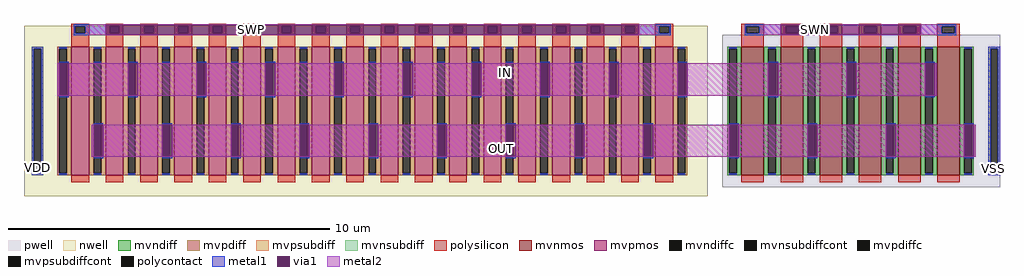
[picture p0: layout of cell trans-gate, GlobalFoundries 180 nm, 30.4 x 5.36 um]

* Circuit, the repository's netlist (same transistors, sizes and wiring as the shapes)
* NGSPICE file created from trans-gate.ext - technology: gf180mcuD

.subckt nfet_06v0_QZENGQ a_174_n844# a_314_n800# a_70_n800# a_n314_n844# a_n402_n800#
+ a_n70_n844# a_n174_n800# VSUBS
X0 a_70_n800# a_n70_n844# a_n174_n800# VSUBS nfet_05v0 ad=2.08p pd=8.52u as=2.08p ps=8.52u w=8u l=0.7u
X1 a_314_n800# a_174_n844# a_70_n800# VSUBS nfet_05v0 ad=3.52p pd=16.88u as=2.08p ps=8.52u w=8u l=0.7u
X2 a_n174_n800# a_n314_n844# a_n402_n800# VSUBS nfet_05v0 ad=2.08p pd=8.52u as=3.52p ps=16.88u w=8u l=0.7u
.ends

.subckt pfet_06v0_65Z2WK a_911_n800# a_697_n800# a_n697_n844# a_n911_n844# a_55_n800#
+ a_801_n844# a_587_n844# a_n373_n800# a_n55_n844# a_n159_n800# a_483_n800# a_269_n800#
+ w_n1085_n930# a_n483_n844# a_n999_n800# a_n269_n844# a_n801_n800# a_373_n844# a_n587_n800#
+ a_159_n844#
X0 a_n801_n800# a_n911_n844# a_n999_n800# w_n1085_n930# pfet_05v0 ad=2.08p pd=8.52u as=3.52p ps=16.88u w=8u l=0.55u
X1 a_483_n800# a_373_n844# a_269_n800# w_n1085_n930# pfet_05v0 ad=2.08p pd=8.52u as=2.08p ps=8.52u w=8u l=0.55u
X2 a_n159_n800# a_n269_n844# a_n373_n800# w_n1085_n930# pfet_05v0 ad=2.08p pd=8.52u as=2.08p ps=8.52u w=8u l=0.55u
X3 a_697_n800# a_587_n844# a_483_n800# w_n1085_n930# pfet_05v0 ad=2.08p pd=8.52u as=2.08p ps=8.52u w=8u l=0.55u
X4 a_911_n800# a_801_n844# a_697_n800# w_n1085_n930# pfet_05v0 ad=3.52p pd=16.88u as=2.08p ps=8.52u w=8u l=0.55u
X5 a_269_n800# a_159_n844# a_55_n800# w_n1085_n930# pfet_05v0 ad=2.08p pd=8.52u as=2.08p ps=8.52u w=8u l=0.55u
X6 a_n373_n800# a_n483_n844# a_n587_n800# w_n1085_n930# pfet_05v0 ad=2.08p pd=8.52u as=2.08p ps=8.52u w=8u l=0.55u
X7 a_n587_n800# a_n697_n844# a_n801_n800# w_n1085_n930# pfet_05v0 ad=2.08p pd=8.52u as=2.08p ps=8.52u w=8u l=0.55u
X8 a_55_n800# a_n55_n844# a_n159_n800# w_n1085_n930# pfet_05v0 ad=2.08p pd=8.52u as=2.08p ps=8.52u w=8u l=0.55u
.ends

.subckt trans-gate VDD VSS SWP SWN IN OUT
Xnfet_06v0_QZENGQ_0 SWN OUT IN SWN IN SWN OUT VSS nfet_06v0_QZENGQ
Xpfet_06v0_65Z2WK_0 OUT IN SWP SWP OUT SWP SWP OUT SWP IN OUT IN VDD SWP IN SWP OUT
+ SWP IN SWP pfet_06v0_65Z2WK
.ends

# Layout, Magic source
magic
tech gf180mcuD
magscale 1 10
<< nwell >>
rect -1440 1940 -1319 3000
rect -931 2942 -821 3000
rect -717 2942 -607 3000
rect -503 2942 -393 3000
rect -289 2942 -179 3000
rect -75 2942 35 3000
rect 139 2942 249 3000
rect 353 2942 463 3000
rect 567 2942 677 3000
rect 781 2942 891 3000
rect 995 2942 1105 3000
rect 1209 2942 1319 3000
rect 1423 2942 1533 3000
rect 1637 2942 1747 3000
rect 1760 1940 2820 3000
<< pwell >>
rect 3272 2942 3412 2946
rect 3516 2942 3656 2946
rect 3760 2942 3900 2946
rect 4004 2942 4144 2946
rect 4248 2942 4388 2946
rect 4508 1994 4639 2946
<< mvpsubdiff >>
rect 4567 2857 4639 2870
rect 4567 2083 4580 2857
rect 4626 2083 4639 2857
rect 4567 2070 4639 2083
<< mvnsubdiff >>
rect -1393 2857 -1321 2870
rect -1393 2083 -1380 2857
rect -1334 2083 -1321 2857
rect -1393 2070 -1321 2083
<< mvpsubdiffcont >>
rect 4580 2083 4626 2857
<< mvnsubdiffcont >>
rect -1380 2083 -1334 2857
<< polysilicon >>
rect -1145 2999 -1035 3012
rect -1145 2953 -1120 2999
rect -1060 2953 -1035 2999
rect -1145 2914 -1035 2953
rect -931 2999 -821 3012
rect -931 2953 -906 2999
rect -846 2953 -821 2999
rect -931 2914 -821 2953
rect -717 2999 -607 3012
rect -717 2953 -692 2999
rect -632 2953 -607 2999
rect -717 2914 -607 2953
rect -503 2999 -393 3012
rect -503 2953 -478 2999
rect -418 2953 -393 2999
rect -503 2914 -393 2953
rect -289 2999 -179 3012
rect -289 2953 -264 2999
rect -204 2953 -179 2999
rect -289 2914 -179 2953
rect -75 2999 35 3012
rect -75 2953 -50 2999
rect 10 2953 35 2999
rect -75 2914 35 2953
rect 139 2999 249 3012
rect 139 2953 164 2999
rect 224 2953 249 2999
rect 139 2914 249 2953
rect 353 2999 463 3012
rect 353 2953 378 2999
rect 438 2953 463 2999
rect 353 2914 463 2953
rect 567 2999 677 3012
rect 567 2953 592 2999
rect 652 2953 677 2999
rect 567 2914 677 2953
rect 781 2999 891 3012
rect 781 2953 806 2999
rect 866 2953 891 2999
rect 781 2914 891 2953
rect 995 2999 1105 3012
rect 995 2953 1020 2999
rect 1080 2953 1105 2999
rect 995 2914 1105 2953
rect 1209 2999 1319 3012
rect 1209 2953 1234 2999
rect 1294 2953 1319 2999
rect 1209 2914 1319 2953
rect 1423 2999 1533 3012
rect 1423 2953 1448 2999
rect 1508 2953 1533 2999
rect 1423 2914 1533 2953
rect 1637 2999 1747 3012
rect 1637 2953 1662 2999
rect 1722 2953 1747 2999
rect 1637 2914 1747 2953
rect 1851 2999 1961 3012
rect 1851 2953 1876 2999
rect 1936 2953 1961 2999
rect 1851 2914 1961 2953
rect 2065 2999 2175 3012
rect 2065 2953 2090 2999
rect 2150 2953 2175 2999
rect 2065 2914 2175 2953
rect 2279 2999 2389 3012
rect 2279 2953 2304 2999
rect 2364 2953 2389 2999
rect 2279 2914 2389 2953
rect 2493 2999 2603 3012
rect 2493 2953 2518 2999
rect 2578 2953 2603 2999
rect 2493 2914 2603 2953
rect 3028 2999 3168 3012
rect 3028 2953 3060 2999
rect 3140 2953 3168 2999
rect 3028 2914 3168 2953
rect 3272 2999 3412 3012
rect 3272 2953 3304 2999
rect 3384 2953 3412 2999
rect 3272 2870 3412 2953
rect 3516 2999 3656 3012
rect 3516 2953 3548 2999
rect 3628 2953 3656 2999
rect 3516 2870 3656 2953
rect 3760 2999 3900 3012
rect 3760 2953 3792 2999
rect 3872 2953 3900 2999
rect 3760 2870 3900 2953
rect 4004 2999 4144 3012
rect 4004 2953 4036 2999
rect 4116 2953 4144 2999
rect 4004 2870 4144 2953
rect 4248 2999 4388 3012
rect 4248 2953 4276 2999
rect 4356 2953 4388 2999
rect 4248 2914 4388 2953
<< polycontact >>
rect -1120 2953 -1060 2999
rect -906 2953 -846 2999
rect -692 2953 -632 2999
rect -478 2953 -418 2999
rect -264 2953 -204 2999
rect -50 2953 10 2999
rect 164 2953 224 2999
rect 378 2953 438 2999
rect 592 2953 652 2999
rect 806 2953 866 2999
rect 1020 2953 1080 2999
rect 1234 2953 1294 2999
rect 1448 2953 1508 2999
rect 1662 2953 1722 2999
rect 1876 2953 1936 2999
rect 2090 2953 2150 2999
rect 2304 2953 2364 2999
rect 2518 2953 2578 2999
rect 3060 2953 3140 2999
rect 3304 2953 3384 2999
rect 3548 2953 3628 2999
rect 3792 2953 3872 2999
rect 4036 2953 4116 2999
rect 4276 2953 4356 2999
<< metal1 >>
rect -1131 3008 2589 3010
rect -1131 2999 -931 3008
rect 2389 2999 2589 3008
rect -1131 2953 -1120 2999
rect -1060 2953 -931 2999
rect 2389 2953 2518 2999
rect 2578 2953 2589 2999
rect -1131 2944 -931 2953
rect 2389 2944 2589 2953
rect -1131 2942 2589 2944
rect 3049 3008 4367 3010
rect 3049 2999 3272 3008
rect 4144 2999 4367 3008
rect 3049 2953 3060 2999
rect 3140 2953 3272 2999
rect 4144 2953 4276 2999
rect 4356 2953 4367 2999
rect 3049 2944 3272 2953
rect 4144 2944 4367 2953
rect 3049 2942 4367 2944
rect -1393 2857 -1321 2870
rect -1393 2083 -1380 2857
rect -1334 2083 -1321 2857
rect 4567 2857 4639 2870
rect -1220 2766 -1160 2778
rect -1006 2766 -960 2778
rect -792 2766 -732 2778
rect -578 2766 -532 2778
rect -364 2766 -304 2778
rect -150 2766 -104 2778
rect 64 2766 124 2778
rect 278 2766 324 2778
rect 492 2766 552 2778
rect 706 2766 752 2778
rect 920 2766 980 2778
rect 1134 2766 1180 2778
rect 1348 2766 1408 2778
rect 1562 2766 1608 2778
rect 1776 2766 1836 2778
rect 1990 2766 2036 2778
rect 2204 2766 2264 2778
rect -1220 2556 -1160 2568
rect -792 2556 -732 2568
rect -364 2556 -304 2568
rect 64 2556 124 2568
rect 492 2556 552 2568
rect 920 2556 980 2568
rect 1348 2556 1408 2568
rect 1776 2554 1836 2568
rect 2204 2556 2264 2568
rect 2632 2766 2692 2778
rect 2632 2556 2692 2568
rect 3197 2766 3257 2778
rect 3197 2556 3257 2568
rect 3685 2766 3745 2778
rect 3685 2556 3745 2568
rect 4173 2766 4233 2778
rect 4173 2556 4233 2568
rect -1006 2383 -946 2395
rect -1006 2175 -946 2187
rect -578 2383 -518 2395
rect -578 2175 -518 2187
rect -150 2383 -90 2395
rect -150 2175 -90 2187
rect 278 2383 338 2395
rect 278 2175 338 2187
rect 706 2383 766 2395
rect 706 2175 766 2187
rect 1134 2383 1194 2395
rect 1134 2175 1194 2187
rect 1562 2383 1622 2395
rect 1562 2175 1622 2187
rect 1990 2383 2050 2395
rect 1990 2175 2050 2187
rect 2418 2383 2478 2395
rect 2418 2175 2478 2187
rect 2953 2383 3013 2395
rect 2953 2175 3013 2187
rect 3441 2383 3501 2395
rect 3441 2175 3501 2187
rect 3929 2383 3989 2395
rect 3929 2175 3989 2187
rect 4417 2383 4477 2395
rect 4417 2175 4477 2187
rect -1393 2070 -1321 2083
rect 4567 2083 4580 2857
rect 4626 2083 4639 2857
rect 4567 2070 4639 2083
<< via1 >>
rect -931 2999 2389 3008
rect -931 2953 -906 2999
rect -906 2953 -846 2999
rect -846 2953 -692 2999
rect -692 2953 -632 2999
rect -632 2953 -478 2999
rect -478 2953 -418 2999
rect -418 2953 -264 2999
rect -264 2953 -204 2999
rect -204 2953 -50 2999
rect -50 2953 10 2999
rect 10 2953 164 2999
rect 164 2953 224 2999
rect 224 2953 378 2999
rect 378 2953 438 2999
rect 438 2953 592 2999
rect 592 2953 652 2999
rect 652 2953 806 2999
rect 806 2953 866 2999
rect 866 2953 1020 2999
rect 1020 2953 1080 2999
rect 1080 2953 1234 2999
rect 1234 2953 1294 2999
rect 1294 2953 1448 2999
rect 1448 2953 1508 2999
rect 1508 2953 1662 2999
rect 1662 2953 1722 2999
rect 1722 2953 1876 2999
rect 1876 2953 1936 2999
rect 1936 2953 2090 2999
rect 2090 2953 2150 2999
rect 2150 2953 2304 2999
rect 2304 2953 2364 2999
rect 2364 2953 2389 2999
rect -931 2944 2389 2953
rect 3272 2999 4144 3008
rect 3272 2953 3304 2999
rect 3304 2953 3384 2999
rect 3384 2953 3548 2999
rect 3548 2953 3628 2999
rect 3628 2953 3792 2999
rect 3792 2953 3872 2999
rect 3872 2953 4036 2999
rect 4036 2953 4116 2999
rect 4116 2953 4144 2999
rect 3272 2944 4144 2953
rect -1220 2568 -1160 2766
rect -792 2568 -732 2766
rect -364 2568 -304 2766
rect 64 2568 124 2766
rect 492 2568 552 2766
rect 920 2568 980 2766
rect 1348 2568 1408 2766
rect 1776 2568 1836 2766
rect 2204 2568 2264 2766
rect 2632 2568 2692 2766
rect 3197 2568 3257 2766
rect 3685 2568 3745 2766
rect 4173 2568 4233 2766
rect -1006 2187 -946 2383
rect -578 2187 -518 2383
rect -150 2187 -90 2383
rect 278 2187 338 2383
rect 706 2187 766 2383
rect 1134 2187 1194 2383
rect 1562 2187 1622 2383
rect 1990 2187 2050 2383
rect 2418 2187 2478 2383
rect 2953 2187 3013 2383
rect 3441 2187 3501 2383
rect 3929 2187 3989 2383
rect 4417 2187 4477 2383
<< metal2 >>
rect -1035 3008 2493 3010
rect -1035 2944 -931 3008
rect 2389 2944 2493 3008
rect -1035 2942 2493 2944
rect 3168 3008 4248 3010
rect 3168 2944 3272 3008
rect 4144 2944 4248 3008
rect 3168 2942 4248 2944
rect -1232 2766 4245 2768
rect -1232 2568 -1220 2766
rect -1160 2568 -792 2766
rect -732 2568 -364 2766
rect -304 2568 64 2766
rect 124 2568 492 2766
rect 552 2568 920 2766
rect 980 2568 1348 2766
rect 1408 2568 1776 2766
rect 1836 2568 2204 2766
rect 2264 2568 2632 2766
rect 2692 2568 3197 2766
rect 3257 2568 3685 2766
rect 3745 2568 4173 2766
rect 4233 2568 4245 2766
rect -1232 2566 4245 2568
rect 2204 2556 2264 2566
rect -1018 2383 4489 2385
rect -1018 2187 -1006 2383
rect -946 2187 -578 2383
rect -518 2187 -150 2383
rect -90 2187 278 2383
rect 338 2187 706 2383
rect 766 2187 1134 2383
rect 1194 2187 1562 2383
rect 1622 2187 1990 2383
rect 2050 2187 2418 2383
rect 2478 2187 2953 2383
rect 3013 2187 3441 2383
rect 3501 2187 3929 2383
rect 3989 2187 4417 2383
rect 4477 2187 4489 2383
rect -1018 2185 4489 2187
use nfet_06v0_42FNXL  nfet_06v0_42FNXL_0
transform 1 0 3708 0 1 2470
box -800 -476 800 476
use pfet_06v0_LJSS4L  pfet_06v0_LJSS4L_0
transform 1 0 729 0 1 2470
box -2048 -530 2048 530
<< labels >>
flabel metal2 1538 2687 1584 2733 0 FreeSans 320 0 0 0 IN
port 8 nsew
flabel metal2 1514 2212 1560 2258 0 FreeSans 320 0 0 0 OUT
port 10 nsew
flabel nwell -1381 2092 -1335 2138 0 FreeSans 320 0 0 0 VDD
port 11 nsew
flabel pwell 4576 2089 4622 2135 0 FreeSans 320 0 0 0 VSS
port 13 nsew
flabel via1 -44 2953 2 2999 0 FreeSans 320 0 0 0 SWP
port 2 nsew
flabel metal2 3466 2953 3512 2999 0 FreeSans 320 0 0 0 SWN
port 15 nsew
<< end >>

# cell nfet_06v0_42FNXL: kit device nfet_06v0, w 4 l 0.7 m 1 nf 6 diffcov 100 polycov 100 guard 0 glc 1 grc 1 gtc 0 gbc 0 tbcov 100 rlcov 100 topc 0 botc 0 poverlap 0 doverlap 1 lmin 0.6 wmin 0.3 class mosfet full_metal 1 compatible {nfet_03v3 nfet_06v0 nfet_06v0_nvt}

# cell pfet_06v0_LJSS4L: kit device pfet_06v0, w 4 l 0.55 m 1 nf 18 diffcov 100 polycov 100 guard 0 glc 1 grc 1 gtc 0 gbc 0 tbcov 100 rlcov 100 topc 0 botc 0 poverlap 0 doverlap 1 lmin 0.5 wmin 0.3 class mosfet full_metal 1 compatible {pfet_03v3 pfet_06v0}
